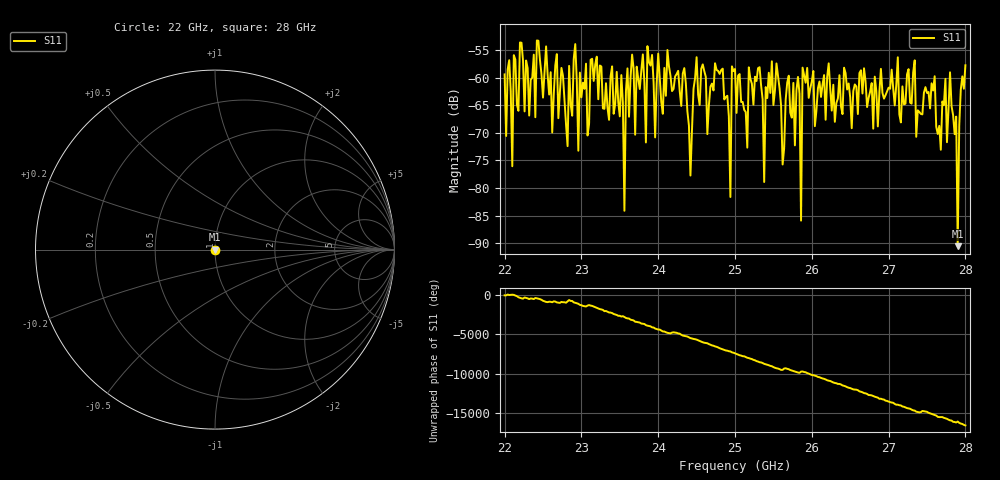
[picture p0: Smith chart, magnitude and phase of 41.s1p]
#  HZ  S  RI  R  50.00
! Rohde & Schwarz ZVA40 4Ports - Version 3.90 - 1145.1110k42 SN: 100403
! Date: 2023-10-04 06:48:28
! Measurement: S12
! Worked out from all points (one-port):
!   301 points, 22 GHz to 28 GHz, reference 50 ohm
!   lowest |S11| = -90.6 dB at 27.9 GHz (marker M1), VSWR 1.00, Z = 50 + j0.00297 ohm
!   |S11| at or under -10 dB: start of sweep to end of sweep
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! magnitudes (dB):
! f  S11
! 22 GHz  -59.4
! 22.1 GHz  -76.1
! 22.12 GHz  -55.9
! 22.2 GHz  -53.6
! 22.76 GHz  -59.7
! 23.5 GHz  -67.0
! 23.56 GHz  -84.1
! 24.26 GHz  -58.8
! 24.42 GHz  -77.7
! 24.5 GHz  -56.3
! 24.84 GHz  -58.4
! 24.94 GHz  -81.6
! 24.96 GHz  -58.0
! 25 GHz  -58.4
! 25.16 GHz  -72.7
! 25.32 GHz  -58.1
! 25.38 GHz  -78.9
! 25.48 GHz  -57.0
! 25.62 GHz  -75.7
! 25.76 GHz  -61.0
! 25.86 GHz  -85.9
! 25.88 GHz  -58.2
! 26.5 GHz  -63.6
! 27.26 GHz  -58.5
! 27.68 GHz  -73.1
! 27.8 GHz  -59.0
! 27.9 GHz  -90.6
! 28 GHz  -57.8
